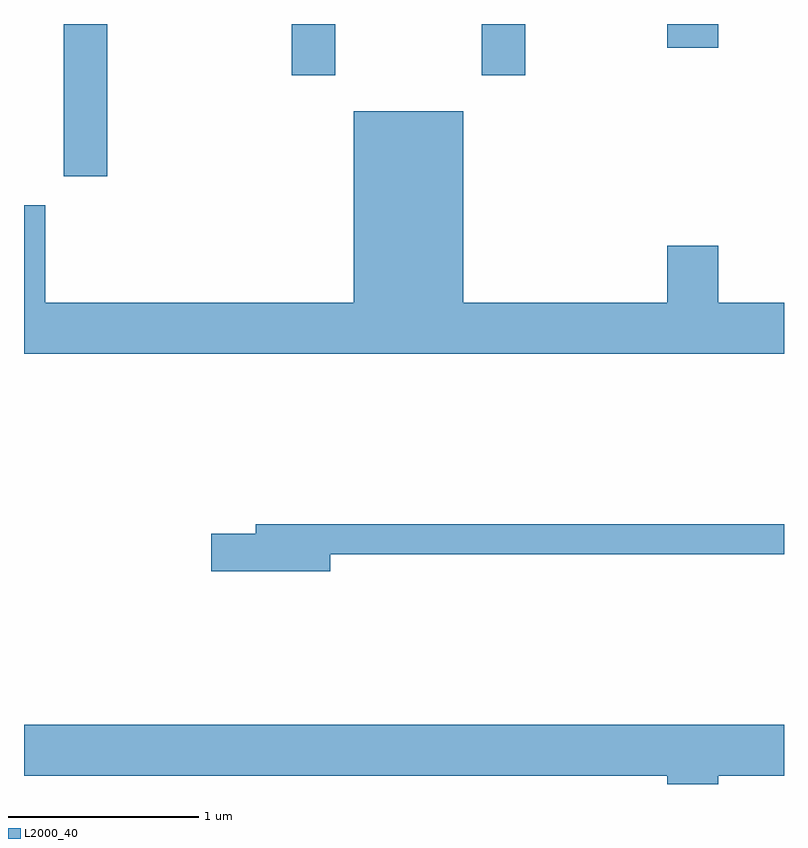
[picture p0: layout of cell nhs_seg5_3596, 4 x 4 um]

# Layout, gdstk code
import gdstk
lib = gdstk.Library(unit=1e-6, precision=1e-09)
def R(c, l, rs):  # rectangles x0, y0, x1, y1
    for r in rs: c.add(gdstk.rectangle(r[:2], r[2:], *l))
def P(c, l, *ps):  # polygons
    for p in ps: c.add(gdstk.Polygon(p, *l))
L2000_40 = (2000, 40)

nhs_seg5_3596 = lib.new_cell('nhs_seg5_3596')
R(nhs_seg5_3596, L2000_40, [(291.821,1473.271,292.049,1474.072), (293.021,1473.801,293.249,1474.072), (294.021,1473.801,294.249,1474.072), (294.996,1473.946,295.264,1474.072)])
P(nhs_seg5_3596, L2000_40, [(295.611,1472.604),(295.264,1472.604),(295.264,1472.904),(294.996,1472.904),(294.996,1472.604),(293.924,1472.604),(293.924,1473.614),(293.346,1473.614),(293.346,1472.604),(291.724,1472.604),(291.724,1473.119),(291.611,1473.119),(291.611,1472.336),(295.611,1472.336)],
  [(293.224,1471.281),(295.611,1471.281),(295.611,1471.439),(292.831,1471.439),(292.831,1471.389),(292.596,1471.389),(292.596,1471.191),(293.224,1471.191)],
  [(295.264,1470.116),(295.611,1470.116),(295.611,1470.384),(291.611,1470.384),(291.611,1470.116),(294.996,1470.116),(294.996,1470.072),(295.264,1470.072)])

lib.write_gds('nhs_seg5_3596.gds')
